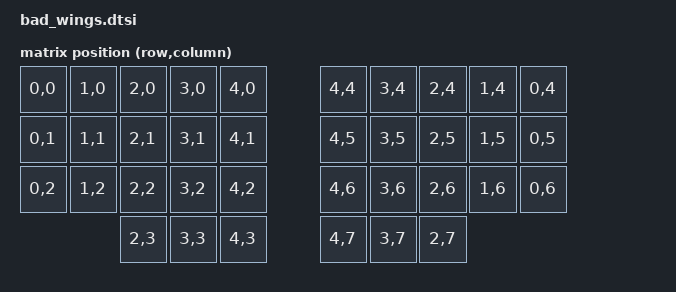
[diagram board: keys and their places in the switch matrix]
/*
 * Copyright (c) 2022 The ZMK Contributors
 *
 * SPDX-License-Identifier: MIT
 */

#include <dt-bindings/zmk/matrix_transform.h>

/ {
    chosen {
        zmk,kscan = &kscan0;
        zmk,matrix_transform = &default_transform;
    };

    default_transform: keymap_transform_0 {
        compatible = "zmk,matrix-transform";
        columns = <8>;
        rows = <5>;

        map = <
            RC(0,0) RC(1,0) RC(2,0) RC(3,0) RC(4,0) RC(4,4) RC(3,4) RC(2,4) RC(1,4) RC(0,4)
            RC(0,1) RC(1,1) RC(2,1) RC(3,1) RC(4,1) RC(4,5) RC(3,5) RC(2,5) RC(1,5) RC(0,5)
            RC(0,2) RC(1,2) RC(2,2) RC(3,2) RC(4,2) RC(4,6) RC(3,6) RC(2,6) RC(1,6) RC(0,6)
                            RC(2,3) RC(3,3) RC(4,3) RC(4,7) RC(3,7) RC(2,7)
        >;
    };
};
